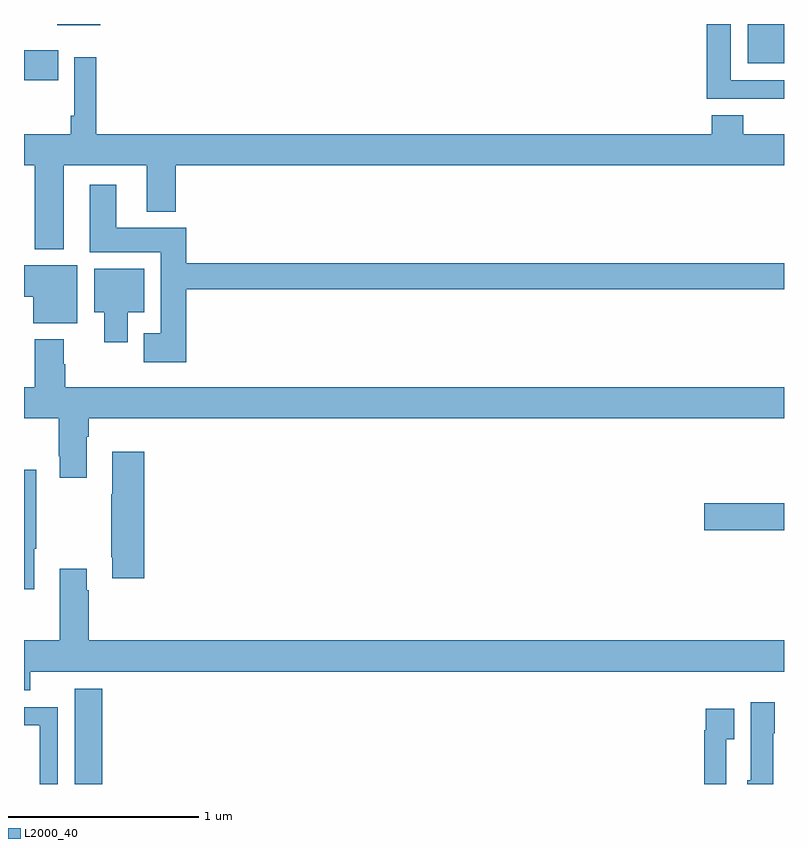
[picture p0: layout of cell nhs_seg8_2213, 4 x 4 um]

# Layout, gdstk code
import gdstk
lib = gdstk.Library(unit=1e-6, precision=1e-09)
def R(c, l, rs):  # rectangles x0, y0, x1, y1
    for r in rs: c.add(gdstk.rectangle(r[:2], r[2:], *l))
def P(c, l, *ps):  # polygons
    for p in ps: c.add(gdstk.Polygon(p, *l))
L2000_40 = (2000, 40)

nhs_seg8_2213 = lib.new_cell('nhs_seg8_2213')
R(nhs_seg8_2213, L2000_40, [(251.267,1123.9,251.411,1124.401), (254.58,1125.236,255,1125.378), (251,1127.603,251.18,1127.761), (254.81,1127.693,255,1127.9), (251.174,1127.894,251.4,1127.9)])
P(nhs_seg8_2213, L2000_40, [(255,1127.604),(254.719,1127.604),(254.719,1127.9),(254.594,1127.9),(254.594,1127.507),(255,1127.507)],
  [(251.209,1127.156),(251.645,1127.156),(251.645,1126.913),(251.798,1126.913),(251.798,1127.156),(255,1127.156),(255,1127.32),(254.786,1127.32),(254.786,1127.419),(254.621,1127.419),(254.621,1127.32),(251.381,1127.32),(251.381,1127.725),(251.265,1127.725),(251.265,1127.416),(251.245,1127.416),(251.245,1127.32),(251,1127.32),(251,1127.156),(251.057,1127.156),(251.057,1126.715),(251.209,1126.715)],
  [(251.855,1126.504),(255,1126.504),(255,1126.64),(251.855,1126.64),(251.855,1126.828),(251.485,1126.828),(251.485,1127.053),(251.345,1127.053),(251.345,1126.7),(251.72,1126.7),(251.72,1126.273),(251.63,1126.273),(251.63,1126.121),(251.855,1126.121)],
  [(251.281,1126.63),(251,1126.63),(251,1126.465),(251.048,1126.465),(251.048,1126.325),(251.281,1126.325)],
  [(251.545,1126.382),(251.632,1126.382),(251.632,1126.612),(251.369,1126.612),(251.369,1126.382),(251.423,1126.382),(251.423,1126.224),(251.545,1126.224)],
  [(251.329,1125.728),(251.342,1125.728),(251.342,1125.824),(255,1125.824),(255,1125.988),(251.217,1125.988),(251.217,1126.109),(251.209,1126.109),(251.209,1126.24),(251.057,1126.24),(251.057,1125.988),(251,1125.988),(251,1125.824),(251.182,1125.824),(251.182,1125.625),(251.189,1125.625),(251.189,1125.513),(251.329,1125.513)],
  [(251.633,1125.649),(251.465,1125.649),(251.465,1125.425),(251.458,1125.425),(251.458,1125.094),(251.465,1125.094),(251.465,1124.982),(251.633,1124.982)],
  [(251.053,1125.137),(251.065,1125.137),(251.065,1125.553),(251,1125.553),(251,1124.925),(251.053,1124.925)],
  [(251.032,1124.492),(255,1124.492),(255,1124.656),(251.342,1124.656),(251.342,1124.921),(251.329,1124.921),(251.329,1125.034),(251.189,1125.034),(251.189,1124.656),(251,1124.656),(251,1124.393),(251.032,1124.393)],
  [(254.944,1124.166),(254.95,1124.166),(254.95,1124.329),(254.825,1124.329),(254.825,1123.92),(254.807,1123.92),(254.807,1123.9),(254.944,1123.9)],
  [(251.178,1124.304),(251,1124.304),(251,1124.208),(251.081,1124.208),(251.081,1124.207),(251.082,1124.207),(251.082,1123.9),(251.178,1123.9)],
  [(254.697,1124.135),(254.737,1124.135),(254.737,1124.296),(254.589,1124.296),(254.589,1124.183),(254.581,1124.183),(254.581,1123.9),(254.697,1123.9)])

lib.write_gds('nhs_seg8_2213.gds')
